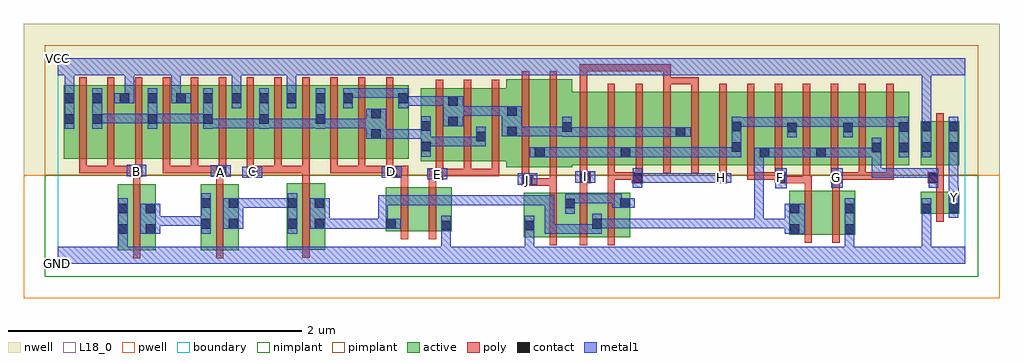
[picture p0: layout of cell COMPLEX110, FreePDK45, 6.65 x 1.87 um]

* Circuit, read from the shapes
.subckt COMPLEX110 A B C D E F G GND H I J VCC Y
M1 n1 B GND VSUBS nfet w=0.45u l=0.05u
M2 n2 A n1 VSUBS nfet w=0.45u l=0.05u
M3 n3 C n2 VSUBS nfet w=0.45u l=0.05u
M4 n4 D n3 VSUBS nfet w=0.3u l=0.05u
M5 GND E n4 VSUBS nfet w=0.3u l=0.05u
M6 n5 J GND VSUBS nfet w=0.3u l=0.05u
M7 n3 I n5 VSUBS nfet w=0.3u l=0.05u
M8 n5 H n3 VSUBS nfet w=0.3u l=0.05u
M9 n6 F n3 VSUBS nfet w=0.3u l=0.05u
M10 GND G n6 VSUBS nfet w=0.3u l=0.05u
M11 Y n3 GND VSUBS nfet w=0.15u l=0.05u
M12 n7 B VCC n8 pfet w=0.5u l=0.05u m=3
M13 VCC A n7 n8 pfet w=0.5u l=0.05u m=3
M14 n7 C VCC n8 pfet w=0.5u l=0.05u m=3
M15 n9 D n7 n8 pfet w=0.5u l=0.05u m=3
M16 n9 E n7 n8 pfet w=0.5u l=0.05u m=3
M17 n10 J n9 n8 pfet w=0.6u l=0.05u m=2
M18 n11 I n9 n8 pfet w=0.5u l=0.05u
M19 n10 H n11 n8 pfet w=0.5u l=0.05u
M20 n12 H n10 n8 pfet w=0.5u l=0.05u
M21 n9 I n12 n8 pfet w=0.5u l=0.05u
M22 n13 I n9 n8 pfet w=0.5u l=0.05u
M23 n10 H n13 n8 pfet w=0.5u l=0.05u
M24 n3 F n10 n8 pfet w=0.5u l=0.05u m=3
M25 n10 G n3 n8 pfet w=0.5u l=0.05u m=3
M26 Y n3 VCC n8 pfet w=0.3u l=0.05u
.ends

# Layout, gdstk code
import gdstk
lib = gdstk.Library(unit=1e-6, precision=1e-09)
def R(c, l, rs):  # rectangles x0, y0, x1, y1
    for r in rs: c.add(gdstk.rectangle(r[:2], r[2:], *l))
def A(c, l, x, y, w, h, nx, ny, dx, dy):  # array of equal rectangles
    R(c, l, [(x+i*dx, y+j*dy, x+i*dx+w, y+j*dy+h) for i in range(nx) for j in range(ny)])
active = (1, 0)
pwell = (2, 0)
nwell = (3, 0)
nimplant = (4, 0)
pimplant = (5, 0)
poly = (9, 0)
contact = (10, 0)
metal1 = (11, 0)
L18_0 = (18, 0)
boundary = (235, 0)

complex110 = lib.new_cell('COMPLEX110')
A(complex110, active, 4.205, 0.672, 0.075, 0.485, 3, 1, 0.38, 0)
A(complex110, active, 0.605, 0.717, 0.075, 0.483, 3, 1, 0.38, 0)
R(complex110, active, [(0.407,0.092,0.667,0.542), (0.972,0.092,1.232,0.542), (0.407,0.097,0.482,0.542), (0.592,0.097,0.667,0.542), (0.972,0.097,1.047,0.542), (1.157,0.097,1.232,0.542), (1.56,0.097,1.635,0.547), (1.56,0.097,1.82,0.547), (1.745,0.097,1.82,0.547), (3.175,0.182,3.25,0.482), (3.175,0.182,3.525,0.482), (3.45,0.182,3.71,0.482), (3.635,0.182,3.9,0.482), (4.982,0.197,5.207,0.497), (5.207,0.197,5.432,0.497), (5.357,0.197,5.432,0.497), (3.635,0.2,3.71,0.405), (4.982,0.2,5.057,0.497), (2.232,0.222,2.307,0.522), (2.232,0.222,2.457,0.522), (2.457,0.222,2.682,0.522), (2.607,0.222,2.682,0.522), (3.45,0.247,3.525,0.447), (3.825,0.247,3.9,0.482), (5.88,0.34,5.955,0.49), (5.88,0.34,6.14,0.49), (6.065,0.34,6.14,0.49), (3.055,0.657,3.32,1.257), (3.245,0.657,3.505,1.257), (3.245,0.657,3.32,1.07), (3.43,0.672,3.675,1.172), (3.675,0.672,3.905,1.172), (3.83,0.672,3.905,1.07), (3.83,0.672,4.055,1.172), (4.055,0.672,4.28,1.172), (4.205,0.672,4.435,1.172), (4.435,0.672,4.66,1.172), (4.585,0.672,4.85,1.172), (4.775,0.672,4.85,1.07), (4.775,0.672,5.04,1.172), (4.965,0.672,5.235,1.172), (5.16,0.672,5.42,1.172), (5.16,0.672,5.235,1.07), (5.345,0.672,5.615,1.172), (5.54,0.672,5.8,1.172), (5.54,0.672,5.615,1.07), (5.725,0.672,5.8,1.157), (5.88,0.672,5.955,0.972), (5.88,0.672,6.14,0.972), (6.065,0.672,6.14,0.972), (2.47,0.697,2.73,1.197), (2.47,0.697,2.545,1.07), (2.655,0.697,2.92,1.197), (2.845,0.697,3.13,1.197), (2.845,0.697,2.92,1.07), (5.345,0.702,5.42,1.157), (0.04,0.717,0.305,1.217), (0.04,0.717,0.115,1.217), (0.23,0.717,0.49,1.217), (0.23,0.717,0.305,1.2), (0.415,0.717,0.68,1.217), (0.605,0.717,0.875,1.217), (0.8,0.717,1.06,1.217), (0.8,0.717,0.875,1.217), (0.985,0.717,1.255,1.217), (1.18,0.717,1.44,1.217), (1.365,0.717,1.63,1.217), (1.555,0.717,1.825,1.217), (1.555,0.717,1.63,1.217), (1.75,0.717,2.015,1.217), (1.75,0.717,1.825,1.2), (1.94,0.717,2.205,1.217), (1.94,0.717,2.015,1.2), (2.13,0.717,2.39,1.217), (2.13,0.717,2.205,1.07), (2.315,0.717,2.39,1.2), (3.43,0.722,3.505,1.2), (0.415,0.807,0.49,1.217), (1.18,0.807,1.255,1.217), (2.655,0.807,2.73,1.157), (3.055,0.807,3.13,1.2)])
R(complex110, pwell, [(-0.235,-0.235,6.415,0.602)])
R(complex110, nwell, [(-0.235,0.602,6.415,1.635)])
R(complex110, nimplant, [(-0.09,-0.09,6.27,0.602)])
R(complex110, pimplant, [(-0.09,0.602,6.27,1.49)])
A(complex110, poly, 3.555, 0.572, 0.05, 0.095, 3, 1, 0.19, 0)
A(complex110, poly, 5.265, 0.572, 0.05, 0.095, 3, 1, 0.19, 0)
A(complex110, poly, 2.575, 0.597, 0.05, 0.095, 3, 1, 0.19, 0)
A(complex110, poly, 2.575, 0.597, 0.05, 0.05, 3, 1, 0.19, 0)
A(complex110, poly, 0.145, 0.617, 0.05, 0.095, 12, 1, 0.19, 0)
A(complex110, poly, 3.555, 0.617, 0.05, 0.61, 5, 1, 0.19, 0)
A(complex110, poly, 4.695, 0.617, 0.05, 0.61, 6, 1, 0.19, 0)
A(complex110, poly, 2.575, 0.642, 0.05, 0.61, 3, 1, 0.19, 0)
A(complex110, poly, 0.145, 0.662, 0.05, 0.61, 12, 1, 0.19, 0)
R(complex110, poly, [(0.512,0.037,0.562,0.597), (1.077,0.037,1.127,0.597), (1.665,0.042,1.715,0.602), (3.35,0.127,3.4,0.537), (3.555,0.127,3.605,0.537), (3.745,0.127,3.795,0.537), (5.087,0.142,5.137,0.552), (5.277,0.142,5.327,0.552), (2.337,0.167,2.387,0.577), (2.527,0.167,2.577,0.577), (5.985,0.285,6.035,0.545), (3.35,0.487,3.4,0.582), (3.555,0.487,3.605,0.597), (3.745,0.487,3.795,0.622), (5.985,0.495,6.035,0.597), (5.087,0.502,5.137,0.597), (5.277,0.502,5.327,0.597), (2.337,0.527,2.387,0.642), (2.527,0.527,2.577,0.622), (3.16,0.532,3.237,0.607), (3.187,0.532,3.4,0.582), (3.35,0.532,3.4,0.582), (3.35,0.532,3.4,0.582), (3.35,0.532,3.4,0.582), (3.35,0.532,3.4,0.652), (0.512,0.547,0.562,0.642), (1.077,0.547,1.127,0.642), (3.555,0.547,3.63,0.622), (3.91,0.547,3.985,0.622), (4.482,0.547,4.557,0.622), (4.885,0.547,4.96,0.622), (4.91,0.547,4.96,0.597), (4.91,0.547,4.96,0.597), (4.91,0.547,5.125,0.597), (5.075,0.547,5.125,0.667), (5.075,0.547,5.137,0.597), (5.265,0.547,5.34,0.622), (5.927,0.547,6.035,0.622), (1.665,0.552,1.715,0.667), (3.16,0.557,3.21,0.652), (2.527,0.572,2.625,0.647), (3.745,0.572,3.795,0.622), (3.745,0.572,3.96,0.622), (3.91,0.572,3.96,0.622), (3.91,0.572,3.96,0.622), (4.505,0.572,4.555,0.622), (4.505,0.572,4.555,1.227), (4.695,0.572,4.745,0.667), (4.695,0.572,4.745,0.622), (4.695,0.572,4.745,0.622), (4.695,0.572,4.745,0.622), (4.695,0.572,4.935,0.622), (4.885,0.572,4.935,0.667), (5.29,0.572,5.505,0.622), (5.455,0.572,5.505,0.622), (5.455,0.572,5.505,0.622), (5.455,0.572,5.505,0.622), (5.455,0.572,5.695,0.622), (5.645,0.572,5.695,0.622), (5.645,0.572,5.695,0.622), (5.645,0.572,5.695,0.622), (5.985,0.572,6.035,0.667), (0.497,0.592,0.575,0.667), (1.072,0.592,1.147,0.667), (1.285,0.592,1.362,0.667), (2.235,0.592,2.387,0.667), (2.575,0.597,2.625,0.647), (2.575,0.597,2.815,0.647), (2.765,0.597,3.005,0.647), (2.955,0.597,3.005,0.647), (2.955,0.597,3.005,0.647), (3.16,0.602,3.21,1.312), (3.35,0.602,3.4,1.312), (0.145,0.617,0.195,0.667), (0.145,0.617,0.195,0.667), (0.145,0.617,0.195,0.667), (0.145,0.617,0.385,0.667), (0.335,0.617,0.385,0.667), (0.335,0.617,0.547,0.667), (0.497,0.617,0.547,0.667), (0.497,0.617,0.547,0.667), (0.715,0.617,0.765,0.667), (0.715,0.617,0.955,0.667), (0.905,0.617,0.955,0.667), (0.905,0.617,0.955,0.667), (0.905,0.617,0.955,0.667), (0.905,0.617,1.122,0.667), (1.072,0.617,1.122,0.667), (1.072,0.617,1.122,0.667), (1.312,0.617,1.362,0.667), (1.312,0.617,1.362,0.667), (1.312,0.617,1.525,0.667), (1.475,0.617,1.525,0.667), (1.475,0.617,1.715,0.667), (1.665,0.617,1.715,0.667), (1.665,0.617,1.715,0.667), (1.665,0.617,1.715,0.667), (1.855,0.617,1.905,0.667), (1.855,0.617,1.905,0.667), (1.855,0.617,1.905,0.667), (1.855,0.617,2.095,0.667), (2.045,0.617,2.095,0.667), (2.045,0.617,2.095,0.667), (2.045,0.617,2.095,0.667), (2.045,0.617,2.285,0.667), (5.985,0.617,6.035,1.027), (3.555,1.177,3.605,1.36), (4.125,1.177,4.175,1.272), (4.315,1.177,4.365,1.272), (4.125,1.222,4.365,1.272), (4.125,1.222,4.175,1.36), (4.315,1.222,4.365,1.272), (4.315,1.222,4.365,1.272), (4.315,1.222,4.365,1.272), (3.555,1.31,3.605,1.36), (3.555,1.31,3.827,1.36), (3.777,1.31,3.827,1.36), (3.777,1.31,3.827,1.36), (3.777,1.31,3.827,1.36), (3.777,1.31,4.042,1.36), (3.992,1.31,4.042,1.36), (3.992,1.31,4.042,1.36), (3.992,1.31,4.042,1.36), (3.992,1.31,4.175,1.36), (4.125,1.31,4.175,1.36), (4.125,1.31,4.175,1.36)])
A(complex110, contact, 0.61, 0.955, 0.065, 0.065, 3, 1, 0.38, 0)
R(complex110, contact, [(0.412,0.205,0.477,0.27), (0.597,0.205,0.662,0.27), (4.987,0.205,5.052,0.27), (5.362,0.205,5.427,0.27), (2.612,0.227,2.677,0.292), (3.18,0.227,3.245,0.292), (0.977,0.24,1.042,0.305), (1.162,0.24,1.227,0.305), (1.565,0.24,1.63,0.305), (1.75,0.24,1.815,0.305), (2.237,0.24,2.302,0.305), (3.64,0.24,3.705,0.305), (0.412,0.345,0.477,0.41), (0.597,0.345,0.662,0.41), (4.987,0.345,5.052,0.41), (5.362,0.345,5.427,0.41), (5.885,0.345,5.95,0.41), (6.07,0.347,6.135,0.412), (3.455,0.377,3.52,0.442), (0.977,0.38,1.042,0.445), (1.162,0.38,1.227,0.445), (1.565,0.38,1.63,0.445), (1.75,0.38,1.815,0.445), (3.83,0.38,3.895,0.445), (3.167,0.537,3.232,0.602), (3.56,0.552,3.625,0.617), (3.915,0.552,3.98,0.617), (4.487,0.552,4.552,0.617), (4.89,0.552,4.955,0.617), (5.27,0.552,5.335,0.617), (5.932,0.552,5.997,0.617), (2.552,0.577,2.617,0.642), (0.502,0.597,0.567,0.662), (1.077,0.597,1.142,0.662), (1.292,0.597,1.357,0.662), (2.242,0.597,2.307,0.662), (4.78,0.725,4.845,0.79), (5.165,0.725,5.23,0.79), (3.25,0.727,3.315,0.792), (3.835,0.727,3.9,0.792), (5.545,0.76,5.61,0.825), (5.73,0.76,5.795,0.825), (4.59,0.762,4.655,0.827), (5.885,0.762,5.95,0.827), (6.07,0.762,6.135,0.827), (2.475,0.765,2.54,0.83), (2.85,0.835,2.915,0.9), (2.135,0.852,2.2,0.917), (4.21,0.865,4.275,0.93), (3.06,0.867,3.125,0.932), (4.97,0.897,5.035,0.962), (5.35,0.897,5.415,0.962), (3.435,0.9,3.5,0.965), (5.73,0.9,5.795,0.965), (4.59,0.902,4.655,0.967), (5.885,0.902,5.95,0.967), (6.07,0.902,6.135,0.967), (2.475,0.905,2.54,0.97), (2.66,0.937,2.725,1.002), (0.045,0.955,0.11,1.02), (0.235,0.955,0.3,1.02), (1.755,0.955,1.82,1.02), (2.135,0.992,2.2,1.057), (3.06,1.007,3.125,1.072), (2.66,1.077,2.725,1.142), (0.045,1.095,0.11,1.16), (0.235,1.095,0.3,1.16), (0.42,1.095,0.485,1.16), (0.61,1.095,0.675,1.16), (0.805,1.095,0.87,1.16), (0.99,1.095,1.055,1.16), (1.185,1.095,1.25,1.16), (1.37,1.095,1.435,1.16), (1.56,1.095,1.625,1.16), (1.755,1.095,1.82,1.16), (1.945,1.095,2.01,1.16), (2.32,1.095,2.385,1.16)])
A(complex110, metal1, 0.61, 0.92, 0.065, 0.275, 3, 1, 0.38, 0)
R(complex110, metal1, [(0,0,6.18,0.115), (0.412,0.05,0.477,0.235), (2.612,0.05,2.677,0.115), (2.612,0.05,2.677,0.115), (2.612,0.05,2.677,0.257), (3.18,0.05,3.245,0.115), (3.18,0.05,3.245,0.115), (3.18,0.05,3.245,0.257), (5.362,0.05,5.427,0.115), (5.362,0.05,5.427,0.115), (5.362,0.05,5.427,0.235), (5.885,0.05,5.95,0.115), (5.885,0.05,5.95,0.115), (5.885,0.05,5.95,0.115), (5.885,0.05,5.95,0.115), (5.885,0.05,5.95,0.375), (0.412,0.17,0.477,0.445), (5.362,0.17,5.427,0.445), (2.612,0.192,2.677,0.327), (3.18,0.192,3.245,0.327), (0.562,0.205,0.697,0.41), (0.977,0.205,1.042,0.48), (1.565,0.205,1.63,0.48), (3.317,0.205,3.52,0.27), (3.317,0.205,3.382,0.465), (3.455,0.205,3.52,0.27), (3.455,0.205,3.52,0.27), (3.455,0.205,3.52,0.27), (3.455,0.205,3.705,0.27), (3.64,0.205,3.705,0.34), (4.952,0.205,5.087,0.41), (1.127,0.24,1.262,0.445), (1.715,0.24,1.85,0.445), (1.785,0.24,1.85,0.305), (1.785,0.24,1.85,0.305), (1.785,0.24,2.01,0.305), (1.945,0.24,2.01,0.305), (1.945,0.24,2.01,0.305), (1.945,0.24,2.01,0.305), (1.945,0.24,2.247,0.305), (2.182,0.24,2.247,0.465), (2.182,0.24,2.337,0.305), (3.64,0.242,3.842,0.307), (3.777,0.242,3.842,0.307), (3.777,0.242,3.842,0.307), (3.777,0.242,3.842,0.307), (3.777,0.242,4.072,0.307), (4.007,0.242,4.072,0.307), (4.007,0.242,4.072,0.307), (4.007,0.242,4.072,0.307), (4.007,0.242,4.21,0.307), (4.145,0.242,4.21,0.307), (4.145,0.242,4.21,0.307), (4.145,0.242,4.21,0.307), (4.145,0.242,4.377,0.307), (4.312,0.242,4.377,0.307), (4.312,0.242,4.377,0.307), (4.312,0.242,4.377,0.307), (4.312,0.242,4.655,0.307), (4.59,0.242,4.655,0.307), (4.59,0.242,4.655,0.307), (4.59,0.242,4.655,0.307), (4.59,0.242,4.81,0.307), (4.745,0.242,4.81,0.307), (4.745,0.242,4.81,0.307), (4.745,0.242,4.81,0.307), (4.745,0.242,4.81,0.307), (4.745,0.242,4.81,0.307), (4.745,0.242,5.017,0.307), (4.745,0.242,4.81,0.79), (4.952,0.242,5.017,0.307), (4.952,0.242,5.017,0.307), (0.632,0.26,0.697,0.325), (0.632,0.26,0.697,0.325), (0.632,0.26,0.835,0.325), (0.77,0.26,0.835,0.325), (0.77,0.26,0.835,0.325), (0.77,0.26,0.835,0.325), (0.77,0.26,1.042,0.325), (5.885,0.31,5.95,0.445), (6.07,0.312,6.135,0.447), (3.455,0.342,3.52,0.477), (1.197,0.38,1.262,0.445), (1.197,0.38,1.262,0.445), (1.197,0.38,1.487,0.445), (1.422,0.38,1.487,0.445), (1.422,0.38,1.487,0.445), (1.422,0.38,1.487,0.445), (1.422,0.38,1.63,0.445), (3.777,0.38,3.86,0.445), (3.777,0.38,3.842,0.477), (3.795,0.38,3.93,0.445), (6.07,0.382,6.135,0.447), (6.07,0.382,6.137,0.517), (2.182,0.4,2.247,0.465), (2.182,0.4,2.247,0.465), (2.182,0.4,2.247,0.465), (2.182,0.4,2.445,0.465), (2.38,0.4,2.445,0.465), (2.38,0.4,2.54,0.465), (2.475,0.4,2.54,0.465), (2.475,0.4,2.777,0.465), (2.712,0.4,2.777,0.465), (2.712,0.4,2.777,0.465), (2.712,0.4,2.777,0.465), (2.712,0.4,2.915,0.465), (2.85,0.4,2.915,0.465), (2.85,0.4,2.915,0.465), (2.85,0.4,2.915,0.465), (2.85,0.4,3.06,0.465), (2.995,0.4,3.06,0.465), (2.995,0.4,3.06,0.465), (2.995,0.4,3.06,0.465), (2.995,0.4,3.212,0.465), (3.147,0.4,3.212,0.465), (3.147,0.4,3.362,0.465), (3.297,0.4,3.362,0.465), (3.297,0.4,3.382,0.465), (3.455,0.412,3.52,0.477), (3.455,0.412,3.52,0.477), (3.455,0.412,3.705,0.477), (3.64,0.412,3.705,0.477), (3.64,0.412,3.842,0.477), (6.07,0.452,6.135,0.792), (4.887,0.515,4.965,0.652), (3.915,0.517,3.98,0.652), (5.267,0.517,5.347,0.652), (5.932,0.517,5.997,0.652), (3.132,0.537,3.267,0.615), (3.525,0.552,3.662,0.63), (3.915,0.552,4.072,0.617), (4.007,0.552,4.072,0.617), (4.007,0.552,4.21,0.617), (4.145,0.552,4.21,0.617), (4.145,0.552,4.21,0.617), (4.145,0.552,4.21,0.617), (4.145,0.552,4.377,0.617), (4.312,0.552,4.377,0.617), (4.312,0.552,4.377,0.617), (4.312,0.552,4.377,0.617), (4.312,0.552,4.517,0.617), (4.452,0.552,4.587,0.617), (2.517,0.575,2.652,0.652), (1.257,0.585,1.392,0.662), (2.207,0.587,2.342,0.665), (5.545,0.587,5.61,0.652), (5.545,0.587,5.812,0.652), (5.545,0.587,5.61,0.79), (5.747,0.587,5.812,0.652), (5.747,0.587,5.812,0.652), (5.747,0.587,5.812,0.652), (5.747,0.587,5.997,0.652), (5.932,0.587,5.997,0.652), (5.932,0.587,5.997,0.652), (1.042,0.592,1.177,0.67), (0.467,0.597,0.602,0.675), (4.745,0.725,4.81,0.79), (4.745,0.725,4.81,0.79), (4.745,0.725,4.88,0.79), (4.815,0.725,5.057,0.79), (4.992,0.725,5.057,0.79), (4.992,0.725,5.057,0.79), (4.992,0.725,5.057,0.79), (4.992,0.725,5.195,0.79), (5.13,0.725,5.195,0.79), (5.13,0.725,5.195,0.79), (5.13,0.725,5.265,0.79), (5.2,0.725,5.402,0.79), (5.337,0.725,5.402,0.79), (5.337,0.725,5.402,0.79), (5.337,0.725,5.402,0.79), (5.337,0.725,5.61,0.79), (5.545,0.725,5.61,0.79), (5.545,0.725,5.61,0.79), (5.545,0.725,5.61,0.86), (5.73,0.725,5.795,1), (3.215,0.727,3.35,0.792), (3.285,0.727,3.35,0.792), (3.285,0.727,3.35,0.792), (3.285,0.727,3.567,0.792), (3.502,0.727,3.567,0.792), (3.502,0.727,3.567,0.792), (3.502,0.727,3.567,0.792), (3.502,0.727,3.705,0.792), (3.64,0.727,3.705,0.792), (3.64,0.727,3.705,0.792), (3.64,0.727,3.705,0.792), (3.64,0.727,3.865,0.792), (3.8,0.727,3.935,0.792), (3.87,0.727,4.072,0.792), (4.007,0.727,4.072,0.792), (4.007,0.727,4.072,0.792), (4.007,0.727,4.072,0.792), (4.007,0.727,4.21,0.792), (4.145,0.727,4.21,0.792), (4.145,0.727,4.21,0.792), (4.145,0.727,4.21,0.792), (4.145,0.727,4.377,0.792), (4.312,0.727,4.377,0.792), (4.312,0.727,4.517,0.792), (4.452,0.727,4.517,0.792), (4.452,0.727,4.517,0.792), (4.452,0.727,4.517,0.792), (4.452,0.727,4.655,0.792), (4.59,0.727,4.655,1.002), (5.885,0.727,5.95,1.002), (6.07,0.727,6.135,1.002), (2.475,0.73,2.54,1.005), (2.475,0.8,2.777,0.865), (2.712,0.8,2.777,0.865), (2.712,0.8,2.777,0.865), (2.712,0.8,2.777,0.865), (2.712,0.8,2.915,0.865), (2.85,0.8,2.915,0.865), (2.85,0.8,2.915,0.865), (2.85,0.8,2.915,0.935), (2.1,0.852,2.235,1.057), (2.17,0.852,2.235,0.917), (2.17,0.852,2.235,0.917), (2.17,0.852,2.385,0.917), (2.32,0.852,2.385,0.917), (2.32,0.852,2.54,0.917), (4.97,0.862,5.035,0.997), (5.35,0.862,5.415,0.997), (3.435,0.865,3.5,1), (3.435,0.865,3.52,0.93), (3.455,0.865,3.52,0.93), (3.455,0.865,3.705,0.93), (3.64,0.865,3.705,0.93), (3.64,0.865,3.705,0.93), (3.64,0.865,3.705,0.93), (3.64,0.865,3.842,0.93), (3.777,0.865,3.842,0.93), (3.777,0.865,4.072,0.93), (4.007,0.865,4.072,0.93), (4.007,0.865,4.072,0.93), (4.007,0.865,4.072,0.93), (4.007,0.865,4.24,0.93), (4.175,0.865,4.24,0.93), (4.175,0.865,4.24,0.93), (4.175,0.865,4.31,0.93), (3.025,0.867,3.16,1.072), (3.042,0.867,3.107,0.932), (3.042,0.867,3.107,0.932), (3.042,0.867,3.212,0.932), (3.147,0.867,3.212,0.932), (3.147,0.867,3.362,0.932), (3.297,0.867,3.362,0.932), (3.297,0.867,3.362,0.932), (3.297,0.867,3.362,0.932), (3.297,0.867,3.5,0.932), (0.045,0.92,0.11,1.195), (0.235,0.92,0.3,1.195), (1.755,0.92,1.82,1.195), (0.99,0.922,1.055,0.987), (0.99,0.922,1.055,0.987), (0.99,0.922,1.262,0.987), (1.197,0.922,1.262,0.987), (1.197,0.922,1.262,0.987), (1.197,0.922,1.262,0.987), (1.197,0.922,1.435,0.987), (1.37,0.922,1.435,0.987), (1.37,0.922,1.435,0.987), (1.37,0.922,1.625,0.987), (1.56,0.922,1.625,0.987), (1.56,0.922,1.625,0.987), (1.56,0.922,1.625,0.987), (1.56,0.922,1.82,0.987), (1.755,0.922,1.82,0.987), (1.755,0.922,1.82,0.987), (1.755,0.922,2.01,0.987), (1.945,0.922,2.01,0.987), (1.945,0.922,2.01,0.987), (1.945,0.922,2.01,0.987), (1.945,0.922,2.165,0.987), (4.59,0.932,4.792,0.997), (4.727,0.932,4.792,0.997), (4.727,0.932,4.792,0.997), (4.727,0.932,4.792,0.997), (4.727,0.932,5.035,0.997), (4.97,0.932,5.035,0.997), (4.97,0.932,5.035,0.997), (4.97,0.932,5.195,0.997), (5.13,0.932,5.195,0.997), (5.13,0.932,5.195,0.997), (5.13,0.932,5.195,0.997), (5.13,0.932,5.415,0.997), (5.35,0.932,5.415,0.997), (5.35,0.932,5.415,0.997), (5.35,0.932,5.657,0.997), (5.592,0.932,5.657,0.997), (5.592,0.932,5.657,0.997), (5.592,0.932,5.657,0.997), (5.592,0.932,5.795,0.997), (5.73,0.932,5.795,0.997), (5.73,0.932,5.795,0.997), (2.625,0.937,2.76,1.142), (5.885,0.937,5.95,1.002), (5.885,0.937,5.95,1.002), (5.885,0.937,5.95,1.002), (5.885,0.937,5.95,1.002), (5.885,0.937,5.95,1.35), (0.235,0.957,0.3,1.022), (0.235,0.957,0.3,1.022), (0.235,0.957,0.49,1.022), (0.425,0.957,0.49,1.022), (0.425,0.957,0.49,1.022), (0.425,0.957,0.49,1.022), (0.425,0.957,0.675,1.022), (0.61,0.957,0.675,1.022), (0.61,0.957,0.675,1.022), (0.61,0.957,0.905,1.022), (0.84,0.957,0.905,1.022), (0.84,0.957,0.905,1.022), (0.84,0.957,0.905,1.022), (0.84,0.957,1.055,1.022), (2.695,1.007,2.915,1.072), (2.85,1.007,2.915,1.072), (2.85,1.007,2.915,1.072), (2.85,1.007,2.915,1.072), (2.85,1.007,3.06,1.072), (2.995,1.007,3.06,1.072), (2.995,1.007,3.09,1.072), (1.185,1.06,1.25,1.195), (1.56,1.06,1.625,1.195), (1.945,1.06,2.01,1.195), (2.32,1.06,2.385,1.195), (2.32,1.077,2.385,1.142), (2.32,1.077,2.385,1.142), (2.32,1.077,2.69,1.142), (2.625,1.077,2.69,1.142), (2.625,1.077,2.69,1.142), (0.385,1.095,0.52,1.16), (0.455,1.095,0.52,1.35), (0.77,1.095,0.835,1.16), (0.77,1.095,0.835,1.16), (0.77,1.095,0.905,1.16), (0.77,1.095,0.835,1.35), (0.045,1.13,0.11,1.195), (0.045,1.13,0.11,1.195), (0.045,1.13,0.11,1.35), (1.185,1.13,1.25,1.195), (1.185,1.13,1.25,1.195), (1.185,1.13,1.25,1.35), (1.56,1.13,1.625,1.195), (1.56,1.13,1.625,1.195), (1.56,1.13,1.625,1.35), (1.945,1.13,2.01,1.195), (1.945,1.13,2.01,1.195), (1.945,1.13,2.147,1.195), (2.082,1.13,2.147,1.195), (2.082,1.13,2.147,1.195), (2.082,1.13,2.147,1.195), (2.082,1.13,2.385,1.195), (0,1.285,6.18,1.4), (0.455,1.285,0.52,1.35), (0.455,1.285,0.52,1.35)])
R(complex110, L18_0, [(0,0,6.18,0.115), (0.412,0.05,0.477,0.235), (2.612,0.05,2.677,0.115), (2.612,0.05,2.677,0.115), (2.612,0.05,2.677,0.257), (3.18,0.05,3.245,0.115), (3.18,0.05,3.245,0.115), (3.18,0.05,3.245,0.257), (5.362,0.05,5.427,0.115), (5.362,0.05,5.427,0.115), (5.362,0.05,5.427,0.235), (5.885,0.05,5.95,0.115), (5.885,0.05,5.95,0.115), (5.885,0.05,5.95,0.115), (5.885,0.05,5.95,0.115), (5.885,0.05,5.95,0.375), (0.412,0.17,0.477,0.445), (5.362,0.17,5.427,0.445), (2.612,0.192,2.677,0.327), (3.18,0.192,3.245,0.327), (5.885,0.31,5.95,0.445), (6.07,0.312,6.135,0.447), (6.07,0.382,6.135,0.447), (6.07,0.382,6.137,0.517), (6.072,0.417,6.137,0.482), (6.07,0.452,6.135,0.792), (4.887,0.515,4.965,0.652), (3.915,0.517,3.98,0.652), (5.267,0.517,5.347,0.652), (3.132,0.537,3.267,0.615), (3.167,0.537,3.232,0.602), (3.525,0.552,3.662,0.63), (3.915,0.552,4.072,0.617), (4.007,0.552,4.072,0.617), (4.007,0.552,4.21,0.617), (4.145,0.552,4.21,0.617), (4.145,0.552,4.21,0.617), (4.145,0.552,4.21,0.617), (4.145,0.552,4.377,0.617), (4.312,0.552,4.377,0.617), (4.312,0.552,4.377,0.617), (4.312,0.552,4.377,0.617), (4.312,0.552,4.517,0.617), (4.452,0.552,4.587,0.617), (4.487,0.552,4.552,0.617), (4.887,0.552,4.952,0.617), (5.272,0.552,5.337,0.617), (3.562,0.562,3.627,0.627), (2.517,0.575,2.652,0.652), (2.552,0.577,2.617,0.642), (1.257,0.585,1.392,0.662), (2.207,0.587,2.342,0.665), (1.042,0.592,1.177,0.67), (1.077,0.592,1.142,0.657), (0.467,0.597,0.602,0.675), (0.502,0.597,0.567,0.662), (1.292,0.597,1.357,0.662), (2.242,0.597,2.307,0.662), (5.885,0.727,5.95,1.002), (6.07,0.727,6.135,1.002), (0.045,0.92,0.11,1.195), (5.885,0.937,5.95,1.002), (5.885,0.937,5.95,1.002), (5.885,0.937,5.95,1.002), (5.885,0.937,5.95,1.002), (5.885,0.937,5.95,1.35), (1.185,1.06,1.25,1.195), (1.56,1.06,1.625,1.195), (0.385,1.095,0.52,1.16), (0.455,1.095,0.52,1.35), (0.77,1.095,0.835,1.16), (0.77,1.095,0.835,1.16), (0.77,1.095,0.905,1.16), (0.77,1.095,0.835,1.35), (0.045,1.13,0.11,1.195), (0.045,1.13,0.11,1.195), (0.045,1.13,0.11,1.35), (1.185,1.13,1.25,1.195), (1.185,1.13,1.25,1.195), (1.185,1.13,1.25,1.35), (1.56,1.13,1.625,1.195), (1.56,1.13,1.625,1.195), (1.56,1.13,1.625,1.35), (0,1.285,6.18,1.4), (0.455,1.285,0.52,1.35), (0.455,1.285,0.52,1.35)])
R(complex110, boundary, [(0,0,6.18,1.4)])
complex110.add(gdstk.Label('A', (1.11,0.625), layer=11, texttype=0))
complex110.add(gdstk.Label('B', (0.535,0.63), layer=11, texttype=0))
complex110.add(gdstk.Label('C', (1.325,0.63), layer=11, texttype=0))
complex110.add(gdstk.Label('D', (2.275,0.63), layer=11, texttype=0))
complex110.add(gdstk.Label('E', (2.585,0.61), layer=11, texttype=0))
complex110.add(gdstk.Label('F', (4.92,0.585), layer=11, texttype=0))
complex110.add(gdstk.Label('G', (5.305,0.585), layer=11, texttype=0))
complex110.add(gdstk.Label('H', (4.52,0.585), layer=11, texttype=0))
complex110.add(gdstk.Label('I', (3.595,0.595), layer=11, texttype=0))
complex110.add(gdstk.Label('J', (3.2,0.57), layer=11, texttype=0))
complex110.add(gdstk.Label('Y', (6.105,0.45), layer=11, texttype=0))
complex110.add(gdstk.Label('VCC', (0,1.4), layer=11, texttype=0))
complex110.add(gdstk.Label('GND', (0,0), layer=11, texttype=0))

lib.write_gds('COMPLEX110.gds')
